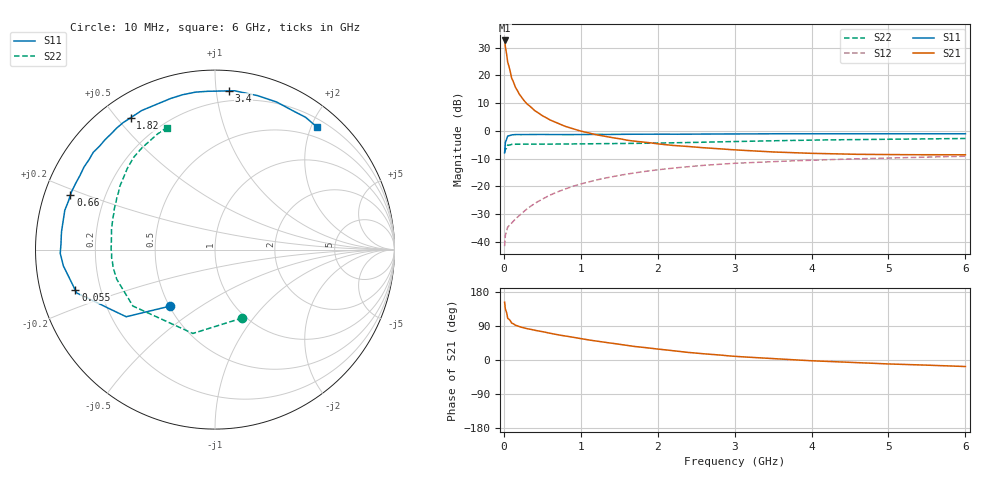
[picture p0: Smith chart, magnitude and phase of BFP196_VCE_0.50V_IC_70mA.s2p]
! Infineon Technologies  Discrete & RF Semiconductors
! BFP196
! VCE = 0.50V,  IC =  70mA
! Common Emitter S-Parameters:  Jan 2016
# GHz  S  MA  R  50
!  f  S11  S21  S12  S22
! GHz  MAG  ANG  MAG  ANG  MAG  ANG  MAG  ANG
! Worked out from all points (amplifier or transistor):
!   210 points, 10 MHz to 6 GHz, reference 50 ohm
!   highest |S21| = 32.6 dB at 10 MHz (marker M1)
!   |S21| within 3 dB of that: start of sweep to 25.01 MHz
!   unconditionally stable (mu >= 1): start of sweep to 10.99 MHz; 181.6 MHz to end of sweep
!   at 185 MHz: K = 1.01, MAG = 21.9 dB, |S12| = -30.9 dB
!   at 1.52 GHz: K = 1.23, MAG = 3.6 dB, |S12| = -15.9 dB
!   at 6 GHz: K = 1.08, MAG = -1.5 dB, |S12| = -9.1 dB
!   S11 on the Smith chart (normalised r, x): 10 MHz: 0.50, -0.38; 55 MHz: 0.11, -0.14; 660 MHz: 0.08, +0.18; 1.82 GHz: 0.09, +0.54; 3.4 GHz: 0.13, +1.08; 6 GHz: 0.32, +2.08
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0.01  0.4032 -128.6  42.62 152.7  0.0084 58.4  0.4104 -68.2
0.02  0.6202 -142.9  33.02 134.0  0.0132 47.7  0.4833 -104.8
0.05  0.8076 -162.6  17.34 110.1  0.0185 36.0  0.555 -145.5
0.055  0.8103 -163.8  16.5 109.4  0.0188 36.4  0.5542 -147.3
0.1  0.8498 -173.9  9.082 97.7  0.0217 39.5  0.5719 -163.3
0.15  0.8624 -178.6  6.143 91.9  0.026 45.7  0.5765 -169.6
0.2  0.8586 177.8  4.619 87.9  0.0297 51.5  0.5755 -173.2
0.26  0.86 174.7  3.563 84.7  0.0353 55.0  0.5777 -176.0
0.3  0.8609 173.1  3.082 82.8  0.0393 57.0  0.5763 -177.3
0.4  0.861 168.4  2.33 78.4  0.0492 60.7  0.5786 -179.8
0.5  0.8651 165.4  1.882 74.7  0.059 61.9  0.5791 178.1
0.66  0.8607 159.4  1.453 68.2  0.0759 62.2  0.5792 175.5
0.8  0.8599 154.8  1.207 63.2  0.0902 61.1  0.5812 173.6
1.02  0.8624 147.1  0.979 55.8  0.1126 58.6  0.5849 170.4
1.38  0.8655 135.7  0.766 45.0  0.1471 53.1  0.5908 165.7
1.82  0.8719 122.6  0.629 33.2  0.1854 45.7  0.5992 159.9
2.02  0.8752 117.3  0.581 28.5  0.2011 42.3  0.6066 157.2
3.1  0.8826 90.7  0.448 8.4  0.2649 24.3  0.6468 142.4
3.4  0.8878 84.9  0.425 4.7  0.277 19.9  0.6601 138.6
4.1  0.8891 73.1  0.392 -2.8  0.3 10.8  0.6874 130.2
5.1  0.8873 60.1  0.375 -11.0  0.3271 -0.5  0.7082 120.1
6  0.8882 50.4  0.372 -17.2  0.3502 -10.4  0.7311 111.5
